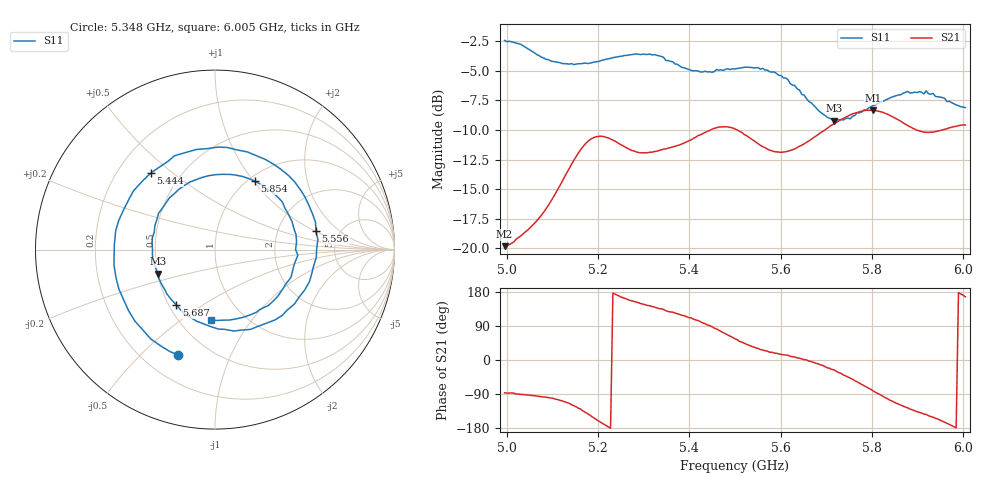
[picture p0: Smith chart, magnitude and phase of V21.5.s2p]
!File created by NanoVNA
# Hz S RI R 50
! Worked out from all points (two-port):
!   201 points, 4.995 GHz to 6.005 GHz, reference 50 ohm
!   highest |S21| = -8.33 dB at 5.803 GHz (marker M1); lowest = -19.8 dB at 4.995 GHz (marker M2)
!   |S21| within 3 dB of the highest: 5.373 GHz to 5.557 GHz (184.1 MHz wide, 3.37 % of centre); 5.644 GHz to end of sweep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
!   lowest |S11| = -9.2 dB at 5.717 GHz (marker M3), VSWR 2.06, Z = 25.1 - j7.69 ohm
!   |S11| at or under -10 dB: nowhere
!   S12 and S22 are empty: the file has one direction only
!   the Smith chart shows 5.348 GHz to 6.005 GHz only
!   S11 on the Smith chart (normalised r, x): 5.348 GHz: 0.34, -0.65; 5.444 GHz: 0.34, +0.42; 5.556 GHz: 3.33, +1.00; 5.687 GHz: 0.55, -0.39; 5.854 GHz: 1.07, +1.02; 6.005 GHz: 0.70, -0.65
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4.995e9  0.2161 -0.7235  0.00626 -0.102  0 0  0 0
5.03035e9  -0.3049 -0.6605  -0.00134 -0.1129  0 0  0 0
5.0758e9  -0.6371 -0.0767  -0.0158 -0.1373  0 0  0 0
5.1263e9  -0.3399 0.4974  -0.0684 -0.188  0 0  0 0
5.1667e9  0.1265 0.5907  -0.1879 -0.1919  0 0  0 0
5.2172e9  0.5585 0.289  -0.2923 -0.0375  0 0  0 0
5.2576e9  0.6416 -0.1188  -0.2569 0.0789  0 0  0 0
5.33335e9  0.0123 -0.6509  -0.1856 0.1804  0 0  0 0
5.3485e9  -0.2068 -0.5856  -0.1688 0.202  0 0  0 0
5.399e9  -0.5627 -0.0872  -0.1056 0.2641  0 0  0 0
5.44445e9  -0.3591 0.4254  -0.00331 0.3148  0 0  0 0
5.5e9  0.226 0.5254  0.1776 0.2651  0 0  0 0
5.55555e9  0.5618 0.1015  0.2415 0.1263  0 0  0 0
5.6212e9  0.2705 -0.4156  0.2552 0.0435  0 0  0 0
5.6717e9  -0.1316 -0.381  0.2917 -0.0292  0 0  0 0
5.68685e9  -0.2148 -0.309  0.3001 -0.0655  0 0  0 0
5.71715e9  -0.3183 -0.135  0.3008 -0.1486  0 0  0 0
5.803e9  -0.1412 0.3759  0.0548 -0.3794  0 0  0 0
5.83835e9  0.111 0.4159  -0.0965 -0.3524  0 0  0 0
5.8535e9  0.2208 0.3823  -0.1443 -0.322  0 0  0 0
5.91915e9  0.4616 -0.0313  -0.2489 -0.1835  0 0  0 0
6.005e9  -0.0227 -0.3924  -0.3231 0.0764  0 0  0 0
